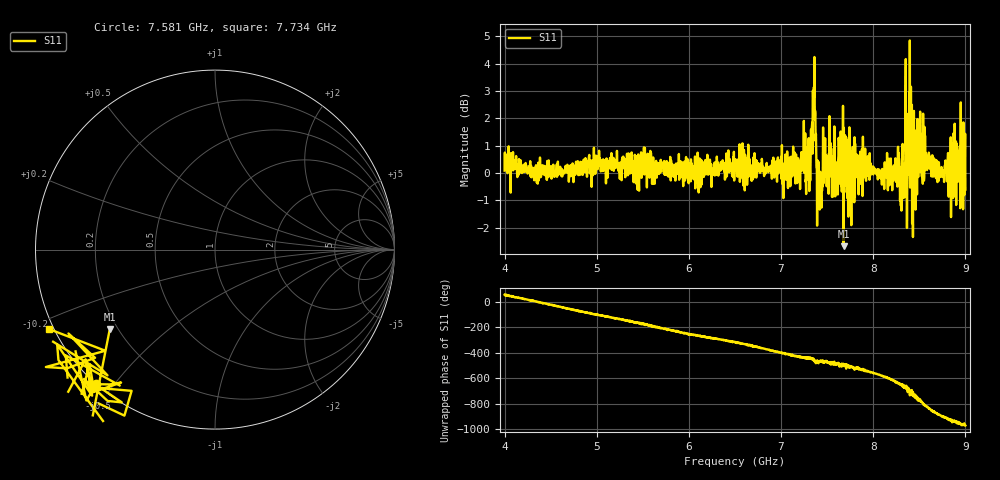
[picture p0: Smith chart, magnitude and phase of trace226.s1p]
! Created with skrf 1.8.0 (http://scikit-rf.org).
# Hz S RI R 50.0
!freq ReS11 ImS11
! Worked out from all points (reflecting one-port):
!   1601 points, 4 GHz to 9 GHz, reference 50 ohm
!   lowest |S11| = -2.7 dB at 7.678 GHz (marker M1), VSWR 6.55, Z = 8.47 - j16.3 ohm
!   phase of S11 starts at 54 deg and turns -1022 deg over the sweep
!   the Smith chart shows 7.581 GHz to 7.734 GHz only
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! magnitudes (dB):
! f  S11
! 4 GHz  0.1
! 4.625 GHz  -0.1
! 5.25 GHz  -0.2
! 5.875 GHz  0.0
! 6.5 GHz  0.4
! 7.125 GHz  0.4
! 7.291 GHz  0.3
! 7.316 GHz  -0.3
! 7.35 GHz  2.5
! 7.369 GHz  2.3
! 7.397 GHz  -1.0
! 7.412 GHz  -1.1
! 7.478 GHz  1.3
! 7.591 GHz  0.4
! 7.65 GHz  1.1
! 7.678 GHz  -2.7
! 7.75 GHz  0.6
! 7.891 GHz  0.4
! 8.097 GHz  0.2
! 8.253 GHz  0.0
! 8.316 GHz  0.5
! 8.375 GHz  0.1
! 8.447 GHz  1.5
! 8.459 GHz  -1.3
! 8.497 GHz  1.0
! 8.841 GHz  1.3
! 8.972 GHz  0.8
! 9 GHz  -0.6
